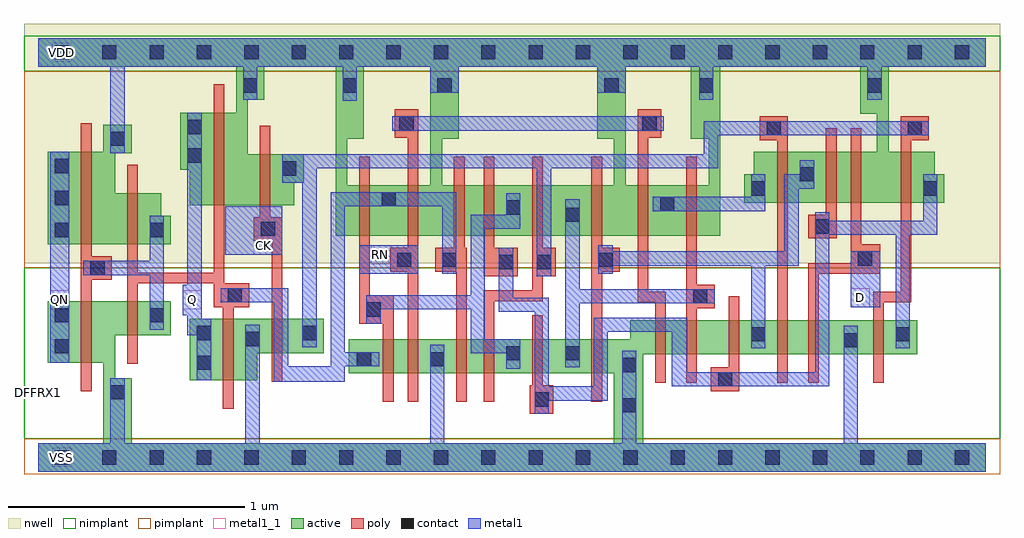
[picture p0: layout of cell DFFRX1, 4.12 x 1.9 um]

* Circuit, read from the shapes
.subckt DFFRX1 CK D Q QN RN VDD VSS
M1 VSS n1 QN VSS nfet w=0.26u l=0.045u
M2 n1 n2 VSS VSS nfet w=0.145u l=0.045u
M3 VSS n2 Q VSS nfet w=0.26u l=0.045u
M4 n3 CK VSS VSS nfet w=0.145u l=0.045u
M5 n4 n5 n2 VSS nfet w=0.145u l=0.045u
M6 VSS RN n4 VSS nfet w=0.145u l=0.045u
M7 n6 n2 VSS VSS nfet w=0.145u l=0.045u
M8 n5 n3 n6 VSS nfet w=0.145u l=0.045u
M9 n7 n8 n5 VSS nfet w=0.145u l=0.045u
M10 VSS n9 n7 VSS nfet w=0.145u l=0.045u
M11 n10 RN VSS VSS nfet w=0.145u l=0.045u
M12 n11 n7 n10 VSS nfet w=0.145u l=0.045u
M13 n9 n8 n11 VSS nfet w=0.145u l=0.045u
M14 n12 n3 n9 VSS nfet w=0.145u l=0.045u
M15 VSS D n12 VSS nfet w=0.145u l=0.045u
M16 n8 n3 VSS VSS nfet w=0.145u l=0.045u
M17 VDD n1 QN VDD pfet w=0.39u l=0.045u
M18 n1 n2 VDD VDD pfet w=0.215u l=0.045u
M19 VDD n2 Q VDD pfet w=0.39u l=0.045u
M20 n3 CK VDD VDD pfet w=0.215u l=0.045u
M21 n2 n5 VDD VDD pfet w=0.215u l=0.045u
M22 VDD RN n2 VDD pfet w=0.215u l=0.045u
M23 n13 n2 VDD VDD pfet w=0.215u l=0.045u
M24 n5 n8 n13 VDD pfet w=0.215u l=0.045u
M25 n7 n3 n5 VDD pfet w=0.215u l=0.045u
M26 VDD n9 n7 VDD pfet w=0.215u l=0.045u
M27 n14 RN VDD VDD pfet w=0.215u l=0.045u
M28 VDD n7 n14 VDD pfet w=0.215u l=0.045u
M29 n9 n3 n14 VDD pfet w=0.215u l=0.045u
M30 n15 n8 n9 VDD pfet w=0.215u l=0.045u
M31 VDD D n15 VDD pfet w=0.215u l=0.045u
M32 n8 n3 VDD VDD pfet w=0.215u l=0.045u
.ends

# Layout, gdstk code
import gdstk
lib = gdstk.Library(unit=1e-6, precision=5e-10)
def R(c, l, rs):  # rectangles x0, y0, x1, y1
    for r in rs: c.add(gdstk.rectangle(r[:2], r[2:], *l))
def A(c, l, x, y, w, h, nx, ny, dx, dy):  # array of equal rectangles
    R(c, l, [(x+i*dx, y+j*dy, x+i*dx+w, y+j*dy+h) for i in range(nx) for j in range(ny)])
def P(c, l, *ps):  # polygons
    for p in ps: c.add(gdstk.Polygon(p, *l))
active = (1, 0)
nwell = (2, 0)
poly = (3, 0)
nimplant = (4, 0)
pimplant = (5, 0)
contact = (6, 0)
metal1 = (7, 0)
metal1_1 = (7, 1)

dffrx1 = lib.new_cell('DFFRX1')
R(dffrx1, active, [(0,-0.06,4,0.06)])
P(dffrx1, active, [(0.56,0.66),(0.04,0.66),(0.04,0.4),(0.275,0.4),(0.275,0.035),(0.395,0.035),(0.395,0.335),(0.325,0.335),(0.325,0.515),(0.56,0.515)],
  [(4,1.77),(2.83,1.77),(2.83,1.15),(2.48,1.15),(2.48,1.65),(2.755,1.65),(2.755,1.345),(2.83,1.345),(2.83,1.77),(2.43,1.77),(2.43,1.15),(1.705,1.15),(1.705,1.345),(1.775,1.345),(1.775,1.65),(2.36,1.65),(2.36,1.345),(2.43,1.345),(2.43,1.77),(1.655,1.77),(1.655,1.15),(1.305,1.15),(1.305,1.345),(1.375,1.345),(1.375,1.65),(1.655,1.65),(1.655,1.77),(0,1.77),(0,1.65),(0.835,1.65),(0.835,1.455),(0.6,1.455),(0.6,1.215),(0.64,1.215),(0.64,1.065),(1.08,1.065),(1.08,1.16),(1.12,1.16),(1.12,1.28),(0.885,1.28),(0.885,1.51),(0.955,1.51),(0.955,1.65),(1.255,1.65),(1.255,0.935),(2.88,0.935),(2.88,1.65),(3.47,1.65),(3.47,1.45),(3.54,1.45),(3.54,1.29),(3.02,1.29),(3.02,1.195),(2.98,1.195),(2.98,1.075),(3.825,1.075),(3.825,1.195),(3.785,1.195),(3.785,1.29),(3.59,1.29),(3.59,1.65),(4,1.65)],
  [(0.275,1.405),(0.395,1.405),(0.395,1.285),(0.325,1.285),(0.325,1.115),(0.52,1.115),(0.52,1.02),(0.56,1.02),(0.56,0.9),(0.04,0.9),(0.04,1.29),(0.275,1.29)],
  [(0.64,0.585),(1.205,0.585),(1.205,0.44),(0.925,0.44),(0.925,0.325),(0.64,0.325)],
  [(2.5,0.58),(3.71,0.58),(3.71,0.435),(2.555,0.435),(2.555,0.04),(2.43,0.04),(2.43,0.355),(1.31,0.355),(1.31,0.5),(2.5,0.5)])
R(dffrx1, nwell, [(-0.06,0.82,4.06,1.83)])
R(dffrx1, poly, [(2.075,0.185,2.175,0.305), (2.085,0.185,2.13,0.6), (3.435,0.775,3.555,0.9)])
P(dffrx1, poly, [(0.18,1.41),(0.225,1.41),(0.225,0.85),(0.31,0.85),(0.31,0.75),(0.225,0.75),(0.225,0.28),(0.18,0.28)],
  [(0.375,1.235),(0.42,1.235),(0.42,0.78),(0.74,0.78),(0.74,1.575),(0.785,1.575),(0.785,0.735),(0.89,0.735),(0.89,0.635),(0.825,0.635),(0.825,0.205),(0.78,0.205),(0.78,0.635),(0.74,0.635),(0.74,0.735),(0.42,0.735),(0.42,0.395),(0.375,0.395)],
  [(1.505,1.47),(1.605,1.47),(1.605,0.235),(1.56,0.235),(1.56,0.785),(1.485,0.785),(1.485,0.885),(1.56,0.885),(1.56,1.35),(1.505,1.35)],
  [(0.935,1.4),(0.98,1.4),(0.98,1.015),(1.03,1.015),(1.03,0.32),(0.985,0.32),(0.985,0.915),(0.91,0.915),(0.91,1.015),(0.935,1.015)],
  [(1.355,1.27),(1.4,1.27),(1.4,0.685),(1.5,0.685),(1.5,0.235),(1.455,0.235),(1.455,0.565),(1.355,0.565)],
  [(1.755,1.27),(1.8,1.27),(1.8,0.885),(1.81,0.885),(1.81,0.235),(1.765,0.235),(1.765,0.785),(1.675,0.785),(1.675,0.885),(1.755,0.885)],
  [(1.88,1.27),(1.925,1.27),(1.925,0.885),(2.025,0.885),(2.025,0.765),(1.88,0.765)],
  [(2.085,1.27),(2.13,1.27),(2.13,0.885),(2.185,0.885),(2.185,0.765),(2.13,0.765),(2.13,0.66),(1.925,0.66),(1.925,0.235),(1.88,0.235),(1.88,0.705),(2.085,0.705)],
  [(2.335,1.27),(2.38,1.27),(2.38,0.885),(2.455,0.885),(2.455,0.785),(2.38,0.785),(2.38,0.235),(2.335,0.235)],
  [(2.53,1.47),(2.63,1.47),(2.63,1.35),(2.575,1.35),(2.575,0.7),(2.65,0.7),(2.65,0.315),(2.605,0.315),(2.605,0.655),(2.53,0.655)],
  [(2.735,1.27),(2.78,1.27),(2.78,0.73),(2.855,0.73),(2.855,0.63),(2.78,0.63),(2.78,0.315),(2.735,0.315)],
  [(3.045,1.44),(3.165,1.44),(3.165,0.315),(3.12,0.315),(3.12,1.34),(3.045,1.34)],
  [(3.325,1.39),(3.37,1.39),(3.37,0.925),(3.25,0.925),(3.25,1.025),(3.325,1.025)],
  [(3.43,1.39),(3.475,1.39),(3.475,0.775),(3.295,0.775),(3.295,0.315),(3.25,0.315),(3.25,0.82),(3.43,0.82)],
  [(3.64,1.44),(3.76,1.44),(3.76,1.34),(3.685,1.34),(3.685,0.655),(3.57,0.655),(3.57,0.315),(3.525,0.315),(3.525,0.7),(3.64,0.7)],
  [(2.915,0.68),(2.96,0.68),(2.96,0.28),(2.84,0.28),(2.84,0.38),(2.915,0.38)])
R(dffrx1, nimplant, [(-0.06,0.08,4.06,0.8), (-0.06,1.63,4.06,1.78)])
R(dffrx1, pimplant, [(-0.06,-0.07,4.06,0.08), (-0.06,0.8,4.06,1.63)])
A(dffrx1, contact, 0.07, -0.03, 0.06, 0.06, 20, 2, 0.2, 1.71)
A(dffrx1, contact, 0.07, 0.93, 0.06, 0.06, 1, 3, 0, 0.135)
R(dffrx1, contact, [(2.465,0.19,2.525,0.25), (2.095,0.215,2.155,0.275), (0.305,0.245,0.365,0.305), (2.87,0.3,2.93,0.36), (2.465,0.36,2.525,0.42), (0.67,0.37,0.73,0.43), (1.345,0.385,1.405,0.445), (1.655,0.385,1.715,0.445), (1.975,0.41,2.035,0.47), (2.225,0.41,2.285,0.47), (0.07,0.44,0.13,0.5), (3.4,0.465,3.46,0.525), (0.875,0.47,0.935,0.53), (3.01,0.49,3.07,0.55), (3.62,0.49,3.68,0.55), (0.67,0.495,0.73,0.555), (1.115,0.495,1.175,0.555), (0.07,0.57,0.13,0.63), (0.47,0.57,0.53,0.63), (1.385,0.595,1.445,0.655), (2.765,0.65,2.825,0.71), (0.8,0.655,0.86,0.715), (0.22,0.77,0.28,0.83), (1.945,0.795,2.005,0.855), (2.105,0.795,2.165,0.855), (1.515,0.805,1.575,0.865), (1.705,0.805,1.765,0.865), (2.365,0.805,2.425,0.865), (3.46,0.81,3.52,0.87), (0.47,0.93,0.53,0.99), (0.94,0.935,1,0.995), (3.28,0.945,3.34,1.005), (2.225,0.995,2.285,1.055), (1.975,1.025,2.035,1.085), (2.625,1.04,2.685,1.1), (1.45,1.06,1.51,1.12), (3.01,1.105,3.07,1.165), (3.735,1.105,3.795,1.165), (3.215,1.165,3.275,1.225), (1.03,1.19,1.09,1.25), (0.63,1.245,0.69,1.305), (0.305,1.315,0.365,1.375), (3.075,1.36,3.135,1.42), (3.67,1.36,3.73,1.42), (0.63,1.365,0.69,1.425), (1.525,1.38,1.585,1.44), (2.55,1.38,2.61,1.44), (0.865,1.54,0.925,1.6), (1.285,1.54,1.345,1.6), (1.685,1.54,1.745,1.6), (2.39,1.54,2.45,1.6), (2.79,1.54,2.85,1.6), (3.5,1.54,3.56,1.6)])
R(dffrx1, metal1, [(0.05,0.4,0.13,1.29), (3.43,0.635,3.555,0.87), (1.355,0.775,1.605,0.895), (0.79,0.855,1.03,1.06), (1.495,1.38,2.64,1.44)])
P(dffrx1, metal1, [(4,0.06),(3.46,0.06),(3.46,0.555),(3.4,0.555),(3.4,0.06),(2.525,0.06),(2.525,0.45),(2.465,0.45),(2.465,0.06),(1.715,0.06),(1.715,0.475),(1.655,0.475),(1.655,0.06),(0.935,0.06),(0.935,0.56),(0.875,0.56),(0.875,0.06),(0.365,0.06),(0.365,0.335),(0.305,0.335),(0.305,0.06),(0,0.06),(0,-0.06),(4,-0.06)],
  [(4,1.77),(0,1.77),(0,1.65),(0.305,1.65),(0.305,1.285),(0.365,1.285),(0.365,1.65),(0.865,1.65),(0.865,1.51),(0.925,1.51),(0.925,1.65),(1.285,1.65),(1.285,1.505),(1.345,1.505),(1.345,1.65),(1.655,1.65),(1.655,1.54),(1.775,1.54),(1.775,1.65),(2.36,1.65),(2.36,1.54),(2.48,1.54),(2.48,1.65),(2.79,1.65),(2.79,1.51),(2.85,1.51),(2.85,1.65),(3.5,1.65),(3.5,1.51),(3.56,1.51),(3.56,1.65),(4,1.65)],
  [(3.795,1.195),(3.735,1.195),(3.735,1),(3.34,1),(3.34,1.035),(3.28,1.035),(3.28,0.36),(2.74,0.36),(2.74,0.59),(2.345,0.59),(2.345,0.3),(2.155,0.3),(2.155,0.675),(2.005,0.675),(2.005,0.885),(1.945,0.885),(1.945,0.615),(2.095,0.615),(2.095,0.185),(2.155,0.185),(2.155,0.24),(2.405,0.24),(2.405,0.53),(2.675,0.53),(2.675,0.3),(3.34,0.3),(3.34,0.94),(3.62,0.94),(3.62,0.46),(3.68,0.46),(3.68,0.94),(3.795,0.94)],
  [(3.76,1.42),(2.81,1.42),(2.81,1.28),(1.03,1.28),(1.03,1.16),(1.115,1.16),(1.115,0.465),(1.175,0.465),(1.175,1.22),(2.105,1.22),(2.105,0.765),(2.165,0.765),(2.165,1.22),(2.87,1.22),(2.87,1.36),(3.76,1.36)],
  [(3.275,1.255),(3.215,1.255),(3.215,1.195),(3.15,1.195),(3.15,0.87),(2.425,0.87),(2.425,0.895),(2.365,0.895),(2.365,0.775),(2.425,0.775),(2.425,0.81),(3.01,0.81),(3.01,0.46),(3.07,0.46),(3.07,0.81),(3.21,0.81),(3.21,1.135),(3.275,1.135)],
  [(3.07,1.195),(3.01,1.195),(3.01,1.1),(2.595,1.1),(2.595,1.04),(3.07,1.04)],
  [(2.855,0.71),(2.285,0.71),(2.285,1.09),(2.225,1.09),(2.225,0.38),(2.285,0.38),(2.285,0.65),(2.855,0.65)],
  [(2.035,0.5),(1.885,0.5),(1.885,0.965),(2.035,0.965),(2.035,1.115),(1.975,1.115),(1.975,1.025),(1.825,1.025),(1.825,0.685),(1.385,0.685),(1.385,0.565),(1.445,0.565),(1.445,0.625),(1.825,0.625),(1.825,0.44),(1.975,0.44),(1.975,0.375),(2.035,0.375)],
  [(1.765,1.12),(1.235,1.12),(1.235,0.385),(1.055,0.385),(1.055,0.715),(0.77,0.715),(0.77,0.655),(0.995,0.655),(0.995,0.32),(1.295,0.32),(1.295,0.385),(1.44,0.385),(1.44,0.445),(1.295,0.445),(1.295,1.06),(1.705,1.06),(1.705,0.775),(1.765,0.775)],
  [(0.73,0.585),(0.69,0.585),(0.69,1.455),(0.63,1.455),(0.63,0.73),(0.61,0.73),(0.61,0.6),(0.63,0.6),(0.63,0.515),(0.67,0.515),(0.67,0.325),(0.73,0.325)],
  [(0.53,1.02),(0.47,1.02),(0.47,0.83),(0.19,0.83),(0.19,0.77),(0.47,0.77),(0.47,0.54),(0.53,0.54)])
R(dffrx1, metal1_1, [(0.06,-0.04,0.14,0.04), (0.05,0.625,0.13,0.705), (0.61,0.625,0.69,0.705), (3.43,0.635,3.51,0.715), (1.405,0.815,1.485,0.895), (0.91,0.855,0.99,0.935), (0.06,1.67,0.14,1.75)])
dffrx1.add(gdstk.Label('VSS', (0.1,0), layer=7, texttype=1))
dffrx1.add(gdstk.Label('D', (3.47,0.675), layer=7, texttype=1))
dffrx1.add(gdstk.Label('Q', (0.65,0.665), layer=7, texttype=1))
dffrx1.add(gdstk.Label('QN', (0.09,0.665), layer=7, texttype=1))
dffrx1.add(gdstk.Label('RN', (1.445,0.855), layer=7, texttype=1))
dffrx1.add(gdstk.Label('CK', (0.95,0.895), layer=7, texttype=1))
dffrx1.add(gdstk.Label('VDD', (0.1,1.71), layer=7, texttype=1))
dffrx1.add(gdstk.Label('DFFRX1', (0,0.275), layer=63, texttype=0))

lib.write_gds('DFFRX1.gds')
